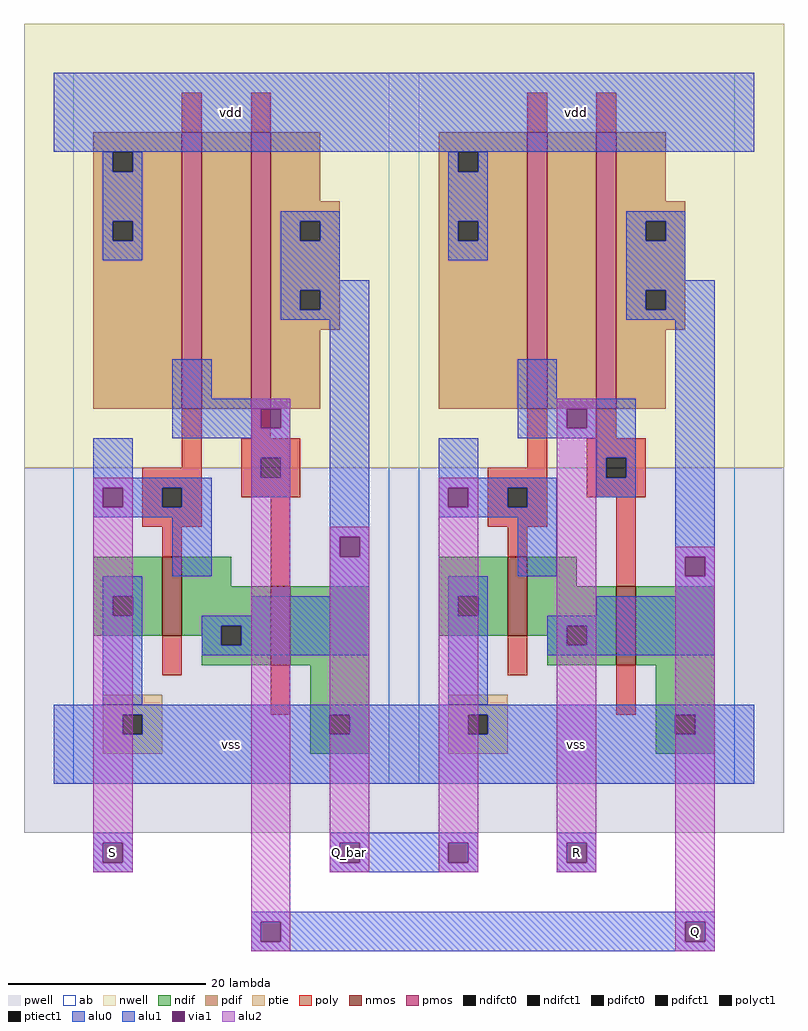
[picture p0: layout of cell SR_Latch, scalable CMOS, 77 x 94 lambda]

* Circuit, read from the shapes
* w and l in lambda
.subckt SR_Latch Q Q_bar R S vdd vss
M1 Q_bar S vss vss nfet w=8 l=2
M2 vss Q Q_bar vss nfet w=8 l=2
M3 Q Q_bar vss vss nfet w=8 l=2
M4 vss R Q vss nfet w=8 l=2
M5 n1 S vdd n2 pfet w=28 l=2
M6 Q_bar Q n1 n2 pfet w=28 l=2
M7 n3 Q_bar vdd n2 pfet w=28 l=2
M8 Q R n3 n2 pfet w=28 l=2
.ends

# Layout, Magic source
magic
tech scmos
<< ab >>
rect -13 -5 19 67
rect 22 -5 54 67
<< nwell >>
rect -18 27 59 72
<< pwell >>
rect -18 -10 59 27
<< poly >>
rect -2 61 0 65
rect 5 61 7 65
rect 33 61 35 65
rect 40 61 42 65
rect -2 27 0 33
rect 5 30 7 33
rect -6 25 0 27
rect -6 23 -4 25
rect -2 23 0 25
rect 4 28 10 30
rect 4 26 6 28
rect 8 26 10 28
rect 33 27 35 33
rect 40 30 42 33
rect 4 24 10 26
rect 29 25 35 27
rect -6 21 0 23
rect -4 18 -2 21
rect 7 15 9 24
rect 29 23 31 25
rect 33 23 35 25
rect 39 28 45 30
rect 39 26 41 28
rect 43 26 45 28
rect 39 24 45 26
rect 29 21 35 23
rect 31 18 33 21
rect -4 6 -2 10
rect 42 15 44 24
rect 7 2 9 7
rect 31 6 33 10
rect 42 2 44 7
<< ndif >>
rect -11 14 -4 18
rect -11 12 -9 14
rect -7 12 -4 14
rect -11 10 -4 12
rect -2 15 3 18
rect -2 11 7 15
rect -2 10 2 11
rect 0 9 2 10
rect 4 9 7 11
rect 0 7 7 9
rect 9 7 17 15
rect 24 14 31 18
rect 24 12 26 14
rect 28 12 31 14
rect 24 10 31 12
rect 33 15 38 18
rect 33 11 42 15
rect 33 10 37 11
rect 11 2 17 7
rect 35 9 37 10
rect 39 9 42 11
rect 35 7 42 9
rect 44 7 52 15
rect 11 0 13 2
rect 15 0 17 2
rect 11 -2 17 0
rect 46 2 52 7
rect 46 0 48 2
rect 50 0 52 2
rect 46 -2 52 0
<< pdif >>
rect -11 59 -2 61
rect -11 57 -9 59
rect -7 57 -2 59
rect -11 52 -2 57
rect -11 50 -9 52
rect -7 50 -2 52
rect -11 33 -2 50
rect 0 33 5 61
rect 7 54 12 61
rect 24 59 33 61
rect 24 57 26 59
rect 28 57 33 59
rect 7 52 14 54
rect 7 50 10 52
rect 12 50 14 52
rect 7 45 14 50
rect 7 43 10 45
rect 12 43 14 45
rect 7 41 14 43
rect 24 52 33 57
rect 24 50 26 52
rect 28 50 33 52
rect 7 33 12 41
rect 24 33 33 50
rect 35 33 40 61
rect 42 54 47 61
rect 42 52 49 54
rect 42 50 45 52
rect 47 50 49 52
rect 42 45 49 50
rect 42 43 45 45
rect 47 43 49 45
rect 42 41 49 43
rect 42 33 47 41
<< alu1 >>
rect -15 59 56 67
rect 8 52 14 53
rect 8 50 10 52
rect 12 50 14 52
rect 8 46 14 50
rect 43 52 49 53
rect 43 50 45 52
rect 47 50 49 52
rect 43 46 49 50
rect 8 45 17 46
rect 8 43 10 45
rect 12 43 17 45
rect 8 42 17 43
rect 43 45 52 46
rect 43 43 45 45
rect 47 43 52 45
rect 43 42 52 43
rect -3 34 1 38
rect -3 33 9 34
rect -3 31 6 33
rect 8 31 9 33
rect -3 30 9 31
rect -11 26 -7 30
rect 5 28 9 30
rect 5 26 6 28
rect 8 26 9 28
rect -11 25 1 26
rect -11 23 -10 25
rect -8 23 -4 25
rect -2 23 1 25
rect 5 24 9 26
rect -11 22 1 23
rect -3 16 1 22
rect 13 20 17 42
rect 32 34 36 38
rect 32 33 44 34
rect 32 31 37 33
rect 39 31 44 33
rect 32 30 44 31
rect 24 26 28 30
rect 40 28 44 30
rect 40 26 41 28
rect 43 26 44 28
rect 24 25 36 26
rect 24 23 25 25
rect 27 23 31 25
rect 33 23 36 25
rect 40 24 44 26
rect 24 22 36 23
rect 13 18 14 20
rect 16 18 17 20
rect 13 14 17 18
rect 32 16 36 22
rect 48 18 52 42
rect 48 16 49 18
rect 51 16 52 18
rect 5 12 17 14
rect 0 11 17 12
rect 0 9 2 11
rect 4 9 17 11
rect 0 8 17 9
rect 48 14 52 16
rect 40 12 52 14
rect 35 11 52 12
rect 35 9 37 11
rect 39 9 52 11
rect 35 8 52 9
rect -15 2 56 3
rect -15 0 -8 2
rect -6 0 13 2
rect 15 0 27 2
rect 29 0 48 2
rect 50 0 56 2
rect -15 -5 56 0
rect -11 -11 -7 -10
rect -11 -13 -10 -11
rect -8 -13 -7 -11
rect -11 -14 -7 -13
rect 13 -11 28 -10
rect 13 -13 14 -11
rect 16 -13 25 -11
rect 27 -13 28 -11
rect 13 -14 28 -13
rect 36 -11 40 -10
rect 36 -13 37 -11
rect 39 -13 40 -11
rect 36 -14 40 -13
rect 5 -19 52 -18
rect 5 -21 6 -19
rect 8 -21 49 -19
rect 51 -21 52 -19
rect 5 -22 52 -21
<< alu2 >>
rect 5 33 9 34
rect 5 31 6 33
rect 8 31 9 33
rect -11 25 -7 26
rect -11 23 -10 25
rect -8 23 -7 25
rect -11 -11 -7 23
rect -11 -13 -10 -11
rect -8 -13 -7 -11
rect -11 -14 -7 -13
rect 5 -19 9 31
rect 36 33 40 34
rect 36 31 37 33
rect 39 31 40 33
rect 24 25 28 26
rect 24 23 25 25
rect 27 23 28 25
rect 13 20 17 21
rect 13 18 14 20
rect 16 18 17 20
rect 13 -11 17 18
rect 13 -13 14 -11
rect 16 -13 17 -11
rect 13 -14 17 -13
rect 24 -11 28 23
rect 24 -13 25 -11
rect 27 -13 28 -11
rect 24 -14 28 -13
rect 36 -11 40 31
rect 36 -13 37 -11
rect 39 -13 40 -11
rect 36 -14 40 -13
rect 48 18 52 19
rect 48 16 49 18
rect 51 16 52 18
rect 5 -21 6 -19
rect 8 -21 9 -19
rect 5 -22 9 -21
rect 48 -19 52 16
rect 48 -21 49 -19
rect 51 -21 52 -19
rect 48 -22 52 -21
<< ptie >>
rect -10 2 -4 4
rect -10 0 -8 2
rect -6 0 -4 2
rect -10 -2 -4 0
rect 25 2 31 4
rect 25 0 27 2
rect 29 0 31 2
rect 25 -2 31 0
<< nmos >>
rect -4 10 -2 18
rect 7 7 9 15
rect 31 10 33 18
rect 42 7 44 15
<< pmos >>
rect -2 33 0 61
rect 5 33 7 61
rect 33 33 35 61
rect 40 33 42 61
<< polyct1 >>
rect -4 23 -2 25
rect 6 26 8 28
rect 31 23 33 25
rect 41 26 43 28
<< ndifct0 >>
rect -9 12 -7 14
rect 26 12 28 14
<< ndifct1 >>
rect 2 9 4 11
rect 37 9 39 11
rect 13 0 15 2
rect 48 0 50 2
<< ptiect1 >>
rect -8 0 -6 2
rect 27 0 29 2
<< pdifct0 >>
rect -9 57 -7 59
rect -9 50 -7 52
rect 26 57 28 59
rect 26 50 28 52
<< pdifct1 >>
rect 10 50 12 52
rect 10 43 12 45
rect 45 50 47 52
rect 45 43 47 45
<< alu0 >>
rect -10 57 -9 59
rect -7 57 -6 59
rect -10 52 -6 57
rect 25 57 26 59
rect 28 57 29 59
rect -10 50 -9 52
rect -7 50 -6 52
rect -10 48 -6 50
rect 25 52 29 57
rect 25 50 26 52
rect 28 50 29 52
rect 25 48 29 50
rect -10 14 -6 16
rect -10 12 -9 14
rect -7 12 -6 14
rect -10 3 -6 12
rect 25 14 29 16
rect 25 12 26 14
rect 28 12 29 14
rect 25 3 29 12
<< via1 >>
rect 6 31 8 33
rect -10 23 -8 25
rect 37 31 39 33
rect 25 23 27 25
rect 14 18 16 20
rect 49 16 51 18
rect -10 -13 -8 -11
rect 14 -13 16 -11
rect 25 -13 27 -11
rect 37 -13 39 -11
rect 6 -21 8 -19
rect 49 -21 51 -19
<< labels >>
rlabel alu1 3 -1 3 -1 4 vss
rlabel alu1 3 63 3 63 4 vdd
rlabel alu1 38 63 38 63 4 vdd
rlabel alu1 38 -1 38 -1 4 vss
rlabel via1 15 -12 15 -12 1 Q_bar
rlabel via1 50 -20 50 -20 1 Q
rlabel via1 -9 -12 -9 -12 1 S
rlabel via1 38 -12 38 -12 1 R
<< end >>
